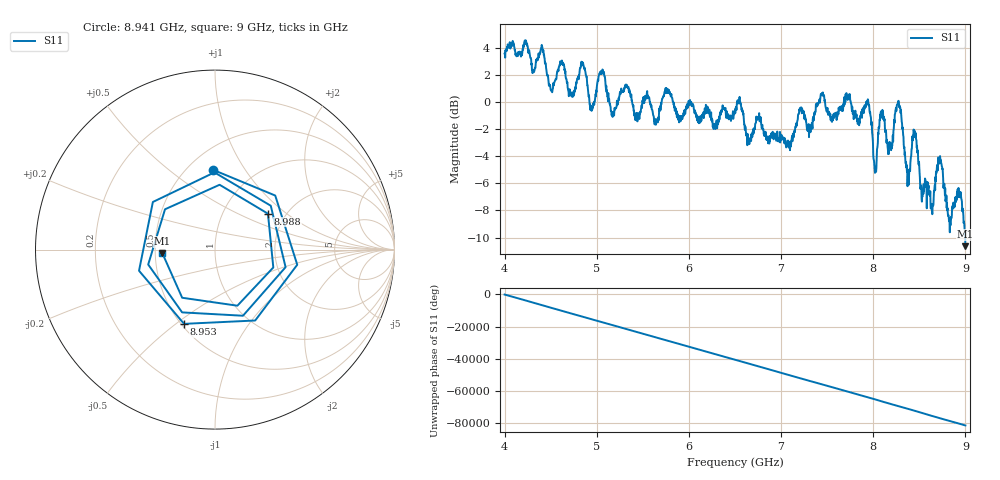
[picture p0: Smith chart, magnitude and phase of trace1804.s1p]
! Created with skrf 1.8.0 (http://scikit-rf.org).
# Hz S RI R 50.0
!freq ReS11 ImS11
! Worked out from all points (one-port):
!   1601 points, 4 GHz to 9 GHz, reference 50 ohm
!   lowest |S11| = -10.6 dB at 9 GHz (marker M1), VSWR 1.83, Z = 27.3 - j1.23 ohm
!   |S11| at or under -10 dB: 8.997794 GHz to end of sweep
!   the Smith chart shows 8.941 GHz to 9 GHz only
!   S11 on the Smith chart (normalised r, x): 8.941 GHz: 0.66, +0.73; 8.953 GHz: 0.52, -0.54; 8.988 GHz: 1.63, +0.75; 9 GHz: 0.55, -0.02
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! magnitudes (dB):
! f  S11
! 4 GHz  3.6
! 4.406 GHz  4.1
! 4.506 GHz  0.8
! 4.625 GHz  2.9
! 4.734 GHz  0.4
! 4.853 GHz  2.8
! 4.947 GHz  -0.4
! 5.053 GHz  2.2
! 5.162 GHz  -1.0
! 5.25 GHz  0.7
! 5.875 GHz  -1.0
! 6.5 GHz  -0.5
! 7.125 GHz  -2.9
! 7.75 GHz  0.1
! 7.947 GHz  -0.1
! 8.022 GHz  -5.0
! 8.084 GHz  -0.7
! 8.181 GHz  -3.2
! 8.278 GHz  -0.1
! 8.375 GHz  -5.5
! 8.447 GHz  -2.1
! 8.631 GHz  -7.6
! 8.722 GHz  -4.1
! 8.828 GHz  -8.9
! 8.941 GHz  -7.0
! 8.953 GHz  -7.0
! 8.988 GHz  -9.0
! 9 GHz  -10.6
